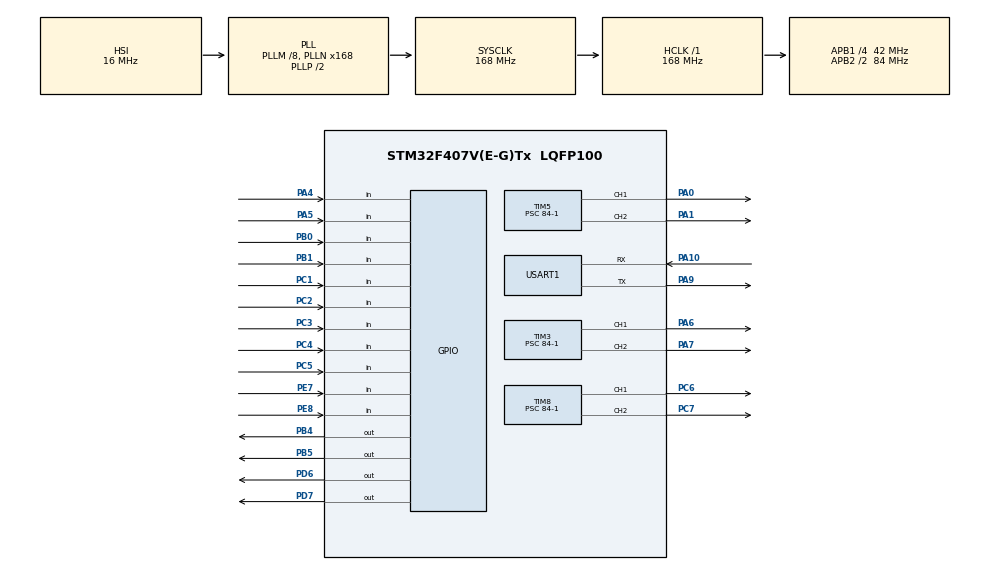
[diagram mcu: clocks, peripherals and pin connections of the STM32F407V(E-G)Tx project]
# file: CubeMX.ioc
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Mcu.Family=STM32F4
Mcu.Name=STM32F407V(E-G)Tx
Mcu.Package=LQFP100
NVIC.PriorityGroup=NVIC_PRIORITYGROUP_4
PA0-WKUP.Signal=S_TIM5_CH1
PA1.Signal=S_TIM5_CH2
PA10.Mode=Asynchronous
PA10.Signal=USART1_RX
PA13.Mode=Serial_Wire
PA13.Signal=SYS_JTMS-SWDIO
PA14.Mode=Serial_Wire
PA14.Signal=SYS_JTCK-SWCLK
PA4.GPIO_PuPd=GPIO_PULLUP
PA4.Signal=GPIO_Input
PA5.GPIO_PuPd=GPIO_PULLUP
PA5.Signal=GPIO_Input
PA6.Signal=S_TIM3_CH1
PA7.Signal=S_TIM3_CH2
PA9.Mode=Asynchronous
PA9.Signal=USART1_TX
PB0.GPIO_PuPd=GPIO_PULLUP
PB0.Signal=GPIO_Input
PB1.GPIO_PuPd=GPIO_PULLUP
PB1.Signal=GPIO_Input
PB4.GPIO_PuPd=GPIO_NOPULL
PB4.Signal=GPIO_Output
PB5.GPIO_PuPd=GPIO_NOPULL
PB5.Signal=GPIO_Output
PC1.GPIO_PuPd=GPIO_PULLUP
PC1.Signal=GPIO_Input
PC2.GPIO_PuPd=GPIO_PULLUP
PC2.Signal=GPIO_Input
PC3.GPIO_PuPd=GPIO_PULLUP
PC3.Signal=GPIO_Input
PC4.GPIO_PuPd=GPIO_PULLUP
PC4.Signal=GPIO_Input
PC5.GPIO_PuPd=GPIO_PULLUP
PC5.Signal=GPIO_Input
PC6.Signal=S_TIM8_CH1
PC7.Signal=S_TIM8_CH2
PD6.GPIO_PuPd=GPIO_NOPULL
PD6.Signal=GPIO_Output
PD7.GPIO_PuPd=GPIO_NOPULL
PD7.Signal=GPIO_Output
PE7.GPIO_PuPd=GPIO_PULLUP
PE7.Signal=GPIO_Input
PE8.GPIO_PuPd=GPIO_PULLUP
PE8.Signal=GPIO_Input
PH0-OSC_IN.Mode=HSE-External-Oscillator
PH0-OSC_IN.Signal=RCC_OSC_IN
PH1-OSC_OUT.Mode=HSE-External-Oscillator
PH1-OSC_OUT.Signal=RCC_OSC_OUT
ProjectManager.HeapSize=0x200
ProjectManager.StackSize=0x400
ProjectManager.TargetToolchain=MDK-ARM V5.32
RCC.48MHZClocksFreq_Value=84000000
RCC.AHBFreq_Value=168000000
RCC.APB1CLKDivider=RCC_HCLK_DIV4
RCC.APB1Freq_Value=42000000
RCC.APB1TimFreq_Value=84000000
RCC.APB2CLKDivider=RCC_HCLK_DIV2
RCC.APB2Freq_Value=84000000
RCC.APB2TimFreq_Value=168000000
RCC.CortexFreq_Value=168000000
RCC.HCLKFreq_Value=168000000
RCC.HSE_VALUE=25000000
RCC.HSI_VALUE=16000000
RCC.LSE_VALUE=32768
RCC.PLLM=8
RCC.PLLN=168
RCC.SYSCLKFreq_VALUE=168000000
RCC.SYSCLKSource=RCC_SYSCLKSOURCE_PLLCLK
RCC.VCOOutputFreq_Value=336000000
SH.S_TIM3_CH1.0=TIM3_CH1,PWM Generation1 CH1
SH.S_TIM3_CH2.0=TIM3_CH2,PWM Generation2 CH2
SH.S_TIM5_CH1.0=TIM5_CH1,PWM Generation1 CH1
SH.S_TIM5_CH2.0=TIM5_CH2,PWM Generation2 CH2
SH.S_TIM8_CH1.0=TIM8_CH1,PWM Generation1 CH1
SH.S_TIM8_CH2.0=TIM8_CH2,PWM Generation2 CH2
TIM3.Channel-PWM\ Generation1\ CH1=TIM_CHANNEL_1
TIM3.Channel-PWM\ Generation2\ CH2=TIM_CHANNEL_2
TIM3.Period=1000-1
TIM3.Prescaler=84-1
TIM5.Channel-PWM\ Generation1\ CH1=TIM_CHANNEL_1
TIM5.Channel-PWM\ Generation2\ CH2=TIM_CHANNEL_2
TIM5.Prescaler=84-1
TIM8.Channel-PWM\ Generation1\ CH1=TIM_CHANNEL_1
TIM8.Channel-PWM\ Generation2\ CH2=TIM_CHANNEL_2
TIM8.Period=1000-1
TIM8.Prescaler=84-1
USART1.VirtualMode=VM_ASYNC
VP_TIM3_VS_ClockSourceINT.Mode=Internal
VP_TIM5_VS_ClockSourceINT.Mode=Internal
VP_TIM8_VS_ClockSourceINT.Mode=Internal
board=custom

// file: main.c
/* USER CODE BEGIN Header */
/**
  ******************************************************************************
  * @file           : main.c
  * @brief          : Main program body
  ******************************************************************************
  * @attention
  *
  * Copyright (c) 2025 STMicroelectronics.
  * All rights reserved.
  *
  * This software is licensed under terms that can be found in the LICENSE file
  * in the root directory of this software component.
  * If no LICENSE file comes with this software, it is provided AS-IS.
  *
  ******************************************************************************
  */
/* USER CODE END Header */
#include "main.h"
#include "tim.h"
#include "usart.h"
#include "gpio.h"
#include <math.h>

/* USER CODE BEGIN PTD */
typedef enum {
    MODE_NORMAL = 0,
    MODE_LINE_TRACKING
} OperationMode;

typedef struct {
    float Kp;
    float Ki;
    float Kd;
    float integral;
    float prev_error;
    float output;
    float max_output;
} PID_Controller;

typedef struct {
    TIM_HandleTypeDef* timer;
    int32_t prev_count;
    int32_t total_count;
    float speed_rpm;
    float speed_pulse;
    PID_Controller pid;
} Encoder_Motor;

int status=0;
int key_1,key_2;
int speed;
uint8_t key1_pressed = 0;
uint8_t key2_pressed = 0;
uint8_t key3_pressed = 0;
/* USER CODE END PTD */

/* USER CODE BEGIN PD */
#define SPEED_LOW 200
#define SPEED_HIGH 800
#define SPEED_TRACKING 400

#define PULSES_PER_REV 11.0f
#define GEAR_RATIO 30.0f
#define TOTAL_PPR (PULSES_PER_REV * GEAR_RATIO * 4)

// PID
#define MOTOR_PID_KP 0.8f
#define MOTOR_PID_KI 0.05f
#define MOTOR_PID_KD 0.1f
#define MOTOR_PID_MAX_OUTPUT 1000.0f

#define GRAY_THRESHOLD 1000
/* USER CODE END PD */

/* USER CODE BEGIN PV */
uint8_t speed_mode = 0;
uint8_t dir_mode = 0;
OperationMode op_mode = MODE_NORMAL;

Encoder_Motor left_motor = {
    .timer = &htim5,
    .prev_count = 0,
    .total_count = 0,
    .speed_rpm = 0,
    .speed_pulse = 0
};

Encoder_Motor right_motor = {
    .timer = &htim3,
    .prev_count = 0,
    .total_count = 0,
    .speed_rpm = 0,
    .speed_pulse = 0
};

float target_speed_left = 0;
float target_speed_right = 0;
/* USER CODE END PV */

void SystemClock_Config(void);
/* USER CODE BEGIN PFP */
void LineTrackingControl(void);
void PID_Init(PID_Controller* pid, float Kp, float Ki, float Kd, float max_output);
float PID_Update(PID_Controller* pid, float error, float dt);
void Encoder_Update(Encoder_Motor* motor);
void Motor_SpeedControl(Encoder_Motor* motor, float target_speed, uint8_t dir, uint8_t channel);
/* USER CODE END PFP */

/* USER CODE BEGIN 0 */
void Motor_Set(uint8_t dir , uint16_t speed)
{
	__HAL_TIM_SET_COMPARE(&htim8 , TIM_CHANNEL_1 , speed);
	__HAL_TIM_SET_COMPARE(&htim8 , TIM_CHANNEL_2 , speed);
	if(dir == 0)
	{
			HAL_GPIO_WritePin(GPIOD,GPIO_PIN_6,GPIO_PIN_SET);
			HAL_GPIO_WritePin(GPIOD,GPIO_PIN_7,GPIO_PIN_RESET);
			HAL_GPIO_WritePin(GPIOB,GPIO_PIN_4,GPIO_PIN_SET);
			HAL_GPIO_WritePin(GPIOB,GPIO_PIN_5,GPIO_PIN_RESET);
	}
	else
	{
		   HAL_GPIO_WritePin(GPIOD,GPIO_PIN_6,GPIO_PIN_RESET);
		   HAL_GPIO_WritePin(GPIOD,GPIO_PIN_7,GPIO_PIN_SET);
		   HAL_GPIO_WritePin(GPIOB,GPIO_PIN_4,GPIO_PIN_RESET);
	     HAL_GPIO_WritePin(GPIOB,GPIO_PIN_5,GPIO_PIN_SET);
	}
}

		void key_read(void)
		{

			key_1=HAL_GPIO_ReadPin(GPIOC,GPIO_PIN_1) == GPIO_PIN_SET;
			key_2=HAL_GPIO_ReadPin(GPIOC,GPIO_PIN_2) == GPIO_PIN_SET;

		}

uint16_t ReadGraySensors(void)
{
    uint16_t sensor_values = 0;

    sensor_values |= (HAL_GPIO_ReadPin(GPIOA, GPIO_PIN_4) << 0);
    sensor_values |= (HAL_GPIO_ReadPin(GPIOA, GPIO_PIN_5) << 1);
    sensor_values |= (HAL_GPIO_ReadPin(GPIOC, GPIO_PIN_4) << 2);
    sensor_values |= (HAL_GPIO_ReadPin(GPIOC, GPIO_PIN_5) << 3);
    sensor_values |= (HAL_GPIO_ReadPin(GPIOB, GPIO_PIN_0) << 4);
    sensor_values |= (HAL_GPIO_ReadPin(GPIOB, GPIO_PIN_1) << 5);
    sensor_values |= (HAL_GPIO_ReadPin(GPIOE, GPIO_PIN_7) << 6);
    sensor_values |= (HAL_GPIO_ReadPin(GPIOE, GPIO_PIN_8) << 7);

    return sensor_values;
}

void PID_Init(PID_Controller* pid, float Kp, float Ki, float Kd, float max_output)
{
    pid->Kp = Kp;
    pid->Ki = Ki;
    pid->Kd = Kd;
    pid->integral = 0;
    pid->prev_error = 0;
    pid->output = 0;
    pid->max_output = max_output;
}

float PID_Update(PID_Controller* pid, float error, float dt)
{
    float proportional = pid->Kp * error;

    pid->integral += error * dt;
    if(pid->integral > pid->max_output) pid->integral = pid->max_output;
    if(pid->integral < -pid->max_output) pid->integral = -pid->max_output;
    float integral = pid->Ki * pid->integral;

    float derivative = pid->Kd * (error - pid->prev_error) / dt;
    pid->prev_error = error;

    pid->output = proportional + integral + derivative;

    if(pid->output > pid->max_output) pid->output = pid->max_output;
    if(pid->output < -pid->max_output) pid->output = -pid->max_output;

    return pid->output;
}

void Encoder_Update(Encoder_Motor* motor)
{
    static uint32_t last_time = 0;
    uint32_t current_time = HAL_GetTick();
    float dt = (current_time - last_time) / 1000.0f;
    if(dt <= 0) dt = 0.01f;

    int32_t current_count = (int32_t)__HAL_TIM_GET_COUNTER(motor->timer);
    int32_t delta = current_count - motor->prev_count;

    if(delta > 0x7FFF) {
        delta -= 0xFFFF;
    } else if(delta < -0x7FFF) {
        delta += 0xFFFF;
    }

    motor->total_count += delta;
    motor->prev_count = current_count;

    if(dt > 0) {
        motor->speed_pulse = delta / dt;
        motor->speed_rpm = (motor->speed_pulse / TOTAL_PPR) * 60.0f;
    }

    last_time = current_time;
}

void Motor_SpeedControl(Encoder_Motor* motor, float target_speed, uint8_t dir, uint8_t channel)
{
    Encoder_Update(motor);

    static uint32_t last_time = 0;
    uint32_t current_time = HAL_GetTick();
    float dt = (current_time - last_time) / 1000.0f;
    if(dt <= 0) dt = 0.01f;
    last_time = current_time;

    float error = target_speed - motor->speed_pulse;

    float pid_output = PID_Update(&motor->pid, error, dt);

    uint16_t pwm = (uint16_t)fabs(pid_output);
    if(pwm > 1000) pwm = 1000;

    if(dir == 0) {
        if(channel == TIM_CHANNEL_1) {
            HAL_GPIO_WritePin(GPIOD, GPIO_PIN_7, GPIO_PIN_SET);
            HAL_GPIO_WritePin(GPIOD, GPIO_PIN_6, GPIO_PIN_RESET);
        }
        else if(channel == TIM_CHANNEL_2) {
            HAL_GPIO_WritePin(GPIOB, GPIO_PIN_5, GPIO_PIN_SET);
            HAL_GPIO_WritePin(GPIOB, GPIO_PIN_4, GPIO_PIN_RESET);
        }
    } else {
        if(channel == TIM_CHANNEL_1) {
            HAL_GPIO_WritePin(GPIOD, GPIO_PIN_7, GPIO_PIN_RESET);
            HAL_GPIO_WritePin(GPIOD, GPIO_PIN_6, GPIO_PIN_SET);
        }
        else if(channel == TIM_CHANNEL_2) {
            HAL_GPIO_WritePin(GPIOB, GPIO_PIN_5, GPIO_PIN_RESET);
            HAL_GPIO_WritePin(GPIOB, GPIO_PIN_4, GPIO_PIN_SET);
        }
    }

    __HAL_TIM_SET_COMPARE(&htim8, channel, pwm);
}

void LineTrackingControl(void)
{
    uint16_t sensors = ReadGraySensors();
    int16_t error = 0;

    if(sensors & 0x01) error -= 4;
    if(sensors & 0x02) error -= 3;
    if(sensors & 0x04) error -= 2;
    if(sensors & 0x08) error -= 1;
    if(sensors & 0x10) error += 1;
    if(sensors & 0x20) error += 2;
    if(sensors & 0x40) error += 3;
    if(sensors & 0x80) error += 4;

    float base_speed = SPEED_TRACKING;
    target_speed_left = base_speed - error * 20.0f;
    target_speed_right = base_speed + error * 20.0f;

    target_speed_left = fmaxf(0, fminf(target_speed_left, 1000));
    target_speed_right = fmaxf(0, fminf(target_speed_right, 1000));

    if(target_speed_left > 0) {
        HAL_GPIO_WritePin(GPIOD, GPIO_PIN_7, GPIO_PIN_SET);
        HAL_GPIO_WritePin(GPIOD, GPIO_PIN_6, GPIO_PIN_RESET);
        __HAL_TIM_SET_COMPARE(&htim8, TIM_CHANNEL_1, (uint16_t)target_speed_left);
    } else {
        __HAL_TIM_SET_COMPARE(&htim8, TIM_CHANNEL_1, 0);
    }

    if(target_speed_right > 0) {
        HAL_GPIO_WritePin(GPIOB, GPIO_PIN_5, GPIO_PIN_SET);
        HAL_GPIO_WritePin(GPIOB, GPIO_PIN_4   , GPIO_PIN_RESET);
        __HAL_TIM_SET_COMPARE(&htim8, TIM_CHANNEL_2, (uint16_t)target_speed_right);
    } else {
        __HAL_TIM_SET_COMPARE(&htim8, TIM_CHANNEL_2, 0);
    }
}

/* USER CODE END 0 */

int main(void)
{

  /* MCU Configuration--------------------------------------------------------*/

  /* Reset of all peripherals, Initializes the Flash interface and the Systick. */
  HAL_Init();

  /* Configure the system clock */
  SystemClock_Config();

  /* Initialize all configured peripherals */
  MX_GPIO_Init();
  MX_TIM8_Init();
  MX_USART1_UART_Init();
  MX_TIM3_Init();
  MX_TIM5_Init();
  /* USER CODE BEGIN 2 */
  HAL_TIM_PWM_Start(&htim8, TIM_CHANNEL_1);
  HAL_TIM_PWM_Start(&htim8, TIM_CHANNEL_2);

	HAL_TIM_Encoder_Start(&htim5, TIM_CHANNEL_ALL);
  HAL_TIM_Encoder_Start(&htim3, TIM_CHANNEL_ALL);

	PID_Init(&left_motor.pid, MOTOR_PID_KP, MOTOR_PID_KI, MOTOR_PID_KD, MOTOR_PID_MAX_OUTPUT);
  PID_Init(&right_motor.pid, MOTOR_PID_KP, MOTOR_PID_KI, MOTOR_PID_KD, MOTOR_PID_MAX_OUTPUT);
  /* USER CODE END 2 */

  /* Infinite loop */
  /* USER CODE BEGIN WHILE */
  while (1)
  {
		//
      if (HAL_GPIO_ReadPin(GPIOC, GPIO_PIN_1) == GPIO_PIN_SET)
      {
          if (!key1_pressed)
          {
              key1_pressed = 1;
              speed_mode = !speed_mode;
              uint16_t speed = (speed_mode == 0) ? SPEED_LOW : SPEED_HIGH;
              Motor_Set(dir_mode, speed);
              HAL_Delay(50);
          }
      }
      else
      {
          key1_pressed = 0;
      }
//
      if (HAL_GPIO_ReadPin(GPIOC, GPIO_PIN_2) == GPIO_PIN_SET)
      {
          if (!key2_pressed)
          {
              key2_pressed = 1;
              dir_mode = !dir_mode;
              uint16_t speed = (speed_mode == 0) ? SPEED_LOW : SPEED_HIGH;
              Motor_Set(dir_mode, speed);
              HAL_Delay(50);
          }
      }
       else
       {
           key2_pressed = 0;
       }
//
      if (HAL_GPIO_ReadPin(GPIOC, GPIO_PIN_3) == GPIO_PIN_SET)
      {
          if (!key3_pressed)
          {
              key3_pressed = 1;
              op_mode = (op_mode == MODE_NORMAL) ? MODE_LINE_TRACKING : MODE_NORMAL;

              if(op_mode == MODE_LINE_TRACKING) {
                  PID_Init(&left_motor.pid, MOTOR_PID_KP, MOTOR_PID_KI, MOTOR_PID_KD, MOTOR_PID_MAX_OUTPUT);
                  PID_Init(&right_motor.pid, MOTOR_PID_KP, MOTOR_PID_KI, MOTOR_PID_KD, MOTOR_PID_MAX_OUTPUT);
              }
              HAL_Delay(50);
          }
      }
      else
      {
          key3_pressed = 0;
      }

      if(op_mode == MODE_LINE_TRACKING) {
          LineTrackingControl();
      }

      HAL_Delay(10);

    /* USER CODE END WHILE */

  }
}

void SystemClock_Config(void)
{
  RCC_OscInitTypeDef RCC_OscInitStruct = {0};
  RCC_ClkInitTypeDef RCC_ClkInitStruct = {0};

  /** Configure the main internal regulator output voltage
  */
  __HAL_RCC_PWR_CLK_ENABLE();
  __HAL_PWR_VOLTAGESCALING_CONFIG(PWR_REGULATOR_VOLTAGE_SCALE1);

  /** Initializes the RCC Oscillators according to the specified parameters
  * in the RCC_OscInitTypeDef structure.
  */
  RCC_OscInitStruct.OscillatorType = RCC_OSCILLATORTYPE_HSI;
  RCC_OscInitStruct.HSIState = RCC_HSI_ON;
  RCC_OscInitStruct.HSICalibrationValue = RCC_HSICALIBRATION_DEFAULT;
  RCC_OscInitStruct.PLL.PLLState = RCC_PLL_ON;
  RCC_OscInitStruct.PLL.PLLSource = RCC_PLLSOURCE_HSI;
  RCC_OscInitStruct.PLL.PLLM = 8;
  RCC_OscInitStruct.PLL.PLLN = 168;
  RCC_OscInitStruct.PLL.PLLP = RCC_PLLP_DIV2;
  RCC_OscInitStruct.PLL.PLLQ = 4;
  if (HAL_RCC_OscConfig(&RCC_OscInitStruct) != HAL_OK)
  {
    Error_Handler();
  }

  /** Initializes the CPU, AHB and APB buses clocks
  */
  RCC_ClkInitStruct.ClockType = RCC_CLOCKTYPE_HCLK|RCC_CLOCKTYPE_SYSCLK
                              |RCC_CLOCKTYPE_PCLK1|RCC_CLOCKTYPE_PCLK2;
  RCC_ClkInitStruct.SYSCLKSource = RCC_SYSCLKSOURCE_PLLCLK;
  RCC_ClkInitStruct.AHBCLKDivider = RCC_SYSCLK_DIV1;
  RCC_ClkInitStruct.APB1CLKDivider = RCC_HCLK_DIV4;
  RCC_ClkInitStruct.APB2CLKDivider = RCC_HCLK_DIV2;

  if (HAL_RCC_ClockConfig(&RCC_ClkInitStruct, FLASH_LATENCY_5) != HAL_OK)
  {
    Error_Handler();
  }
}

void Error_Handler(void)
{
  __disable_irq();
  while (1)
  {
  }
}
